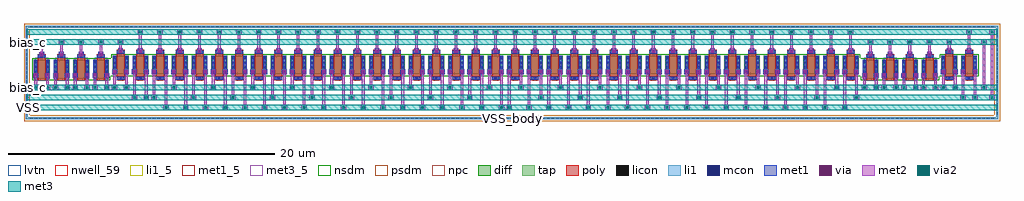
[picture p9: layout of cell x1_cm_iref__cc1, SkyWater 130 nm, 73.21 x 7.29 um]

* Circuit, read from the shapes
.subckt x1_cm_iref__cc1 VSS VSS_body bias_c i_bias
XM1 bias_c bias_c bias_c VSS_body sky130_fd_pr__nfet_01v8_lvt w=1.4 l=0.6 m=8
XM2 bias_c bias_c bias_c VSS_body sky130_fd_pr__nfet_01v8 w=1.4 l=0.6 m=2
XM3 i_bias i_bias i_bias VSS_body sky130_fd_pr__nfet_01v8 w=1.4 l=0.6 m=2
XM4 VSS i_bias i_bias VSS_body sky130_fd_pr__nfet_01v8 w=1.4 l=0.6 m=18
XM5 VSS i_bias bias_c VSS_body sky130_fd_pr__nfet_01v8 w=1.4 l=0.6 m=18
.ends

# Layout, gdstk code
from math import pi, radians
import gdstk
lib = gdstk.Library(unit=1e-6, precision=1e-09)
def R(c, l, rs):  # rectangles x0, y0, x1, y1
    for r in rs: c.add(gdstk.rectangle(r[:2], r[2:], *l))
def A(c, l, x, y, w, h, nx, ny, dx, dy):  # array of equal rectangles
    R(c, l, [(x+i*dx, y+j*dy, x+i*dx+w, y+j*dy+h) for i in range(nx) for j in range(ny)])
nwell_59 = (64, 59)
diff = (65, 20)
tap = (65, 44)
poly = (66, 20)
licon = (66, 44)
li1_5 = (67, 5)
li1 = (67, 20)
mcon = (67, 44)
met1_5 = (68, 5)
met1 = (68, 20)
via = (68, 44)
met2 = (69, 20)
via2 = (69, 44)
met3_5 = (70, 5)
met3 = (70, 20)
nsdm = (93, 44)
psdm = (94, 20)
npc = (95, 20)
lvtn = (125, 44)

sky130_fd_pr__nfet_01v8_ = lib.new_cell('sky130_fd_pr__nfet_01v8_KCM6UP')
R(sky130_fd_pr__nfet_01v8_, diff, [(-0.59,-0.7,0.59,0.7)])
R(sky130_fd_pr__nfet_01v8_, poly, [(-0.3,-1.14,0.3,1.14)])
A(sky130_fd_pr__nfet_01v8_, licon, -0.53, -0.595, 0.17, 0.17, 1, 4, 0, 0.34)
A(sky130_fd_pr__nfet_01v8_, licon, 0.36, -0.595, 0.17, 0.17, 1, 4, 0, 0.34)
R(sky130_fd_pr__nfet_01v8_, licon, [(-0.085,-1.06,0.085,-0.89), (-0.085,0.89,0.085,1.06)])
R(sky130_fd_pr__nfet_01v8_, li1, [(-0.3,-1.06,0.3,-0.89), (-0.53,-0.72,-0.36,0.72), (0.36,-0.72,0.53,0.72), (-0.3,0.89,0.3,1.06)])
A(sky130_fd_pr__nfet_01v8_, mcon, -0.53, -0.625, 0.17, 0.17, 1, 4, 0, 0.36)
A(sky130_fd_pr__nfet_01v8_, mcon, 0.36, -0.625, 0.17, 0.17, 1, 4, 0, 0.36)
R(sky130_fd_pr__nfet_01v8_, mcon, [(-0.085,-1.06,0.085,-0.89), (-0.085,0.89,0.085,1.06)])
R(sky130_fd_pr__nfet_01v8_, met1, [(-0.28,-1.09,0.28,-0.86), (-0.56,-0.7,-0.33,0.7), (0.33,-0.7,0.56,0.7), (-0.28,0.86,0.28,1.09)])
R(sky130_fd_pr__nfet_01v8_, nsdm, [(-0.715,-0.825,0.715,0.825)])
R(sky130_fd_pr__nfet_01v8_, npc, [(-0.185,-1.16,0.185,-0.79), (-0.185,0.79,0.185,1.16)])
sky130_fd_pr__nfet_01v8_.add(gdstk.Label('D', (-0.445,0), layer=67, texttype=5))
sky130_fd_pr__nfet_01v8_.add(gdstk.Label('S', (0.445,0), layer=67, texttype=5))
sky130_fd_pr__nfet_01v8_.add(gdstk.Label('G', (0,0.975), layer=67, texttype=5))

nfet_01v8_w1p4_l0p6_m18_ = lib.new_cell('nfet_01v8_W1p4_L0p6_m18__nf1_gboth_sdfull_ng')
R(nfet_01v8_w1p4_l0p6_m18_, nwell_59, [(0.05,1.09,0.15,1.19)])
R(nfet_01v8_w1p4_l0p6_m18_, met1_5, [(0.03,1.14,0.26,1.34), (0.92,1.14,1.15,1.34), (0.31,2,0.87,2.23)])
R(nfet_01v8_w1p4_l0p6_m18_, met1, [(0.03,1.14,0.26,1.34), (0.92,1.14,1.15,1.34), (0.31,2,0.87,2.23)])
nfet_01v8_w1p4_l0p6_m18_.add(gdstk.Reference(sky130_fd_pr__nfet_01v8_, (0.59,1.14)))
nfet_01v8_w1p4_l0p6_m18_.add(gdstk.Label('D', (0.145,1.24), layer=68, texttype=5))
nfet_01v8_w1p4_l0p6_m18_.add(gdstk.Label('S', (1.035,1.24), layer=68, texttype=5))
nfet_01v8_w1p4_l0p6_m18_.add(gdstk.Label('G', (0.59,2.115), layer=68, texttype=5))
nfet_01v8_w1p4_l0p6_m18_.add(gdstk.Label('B', (0.1,1.14), layer=64, texttype=59))

nfet_01v8_w1p4_l0p6_m2__ = lib.new_cell('nfet_01v8_W1p4_L0p6_m2__nf1_gboth_sdfull_ng')
R(nfet_01v8_w1p4_l0p6_m2__, nwell_59, [(0.05,1.09,0.15,1.19)])
R(nfet_01v8_w1p4_l0p6_m2__, met1_5, [(0.03,1.14,0.26,1.34), (0.92,1.14,1.15,1.34), (0.31,2,0.87,2.23)])
R(nfet_01v8_w1p4_l0p6_m2__, met1, [(0.03,1.14,0.26,1.34), (0.92,1.14,1.15,1.34), (0.31,2,0.87,2.23)])
nfet_01v8_w1p4_l0p6_m2__.add(gdstk.Reference(sky130_fd_pr__nfet_01v8_, (0.59,1.14)))
nfet_01v8_w1p4_l0p6_m2__.add(gdstk.Label('D', (0.145,1.24), layer=68, texttype=5))
nfet_01v8_w1p4_l0p6_m2__.add(gdstk.Label('S', (1.035,1.24), layer=68, texttype=5))
nfet_01v8_w1p4_l0p6_m2__.add(gdstk.Label('G', (0.59,2.115), layer=68, texttype=5))
nfet_01v8_w1p4_l0p6_m2__.add(gdstk.Label('B', (0.1,1.14), layer=64, texttype=59))

c_sky130_fd_pr__nfet_01v8_ = lib.new_cell('sky130_fd_pr__nfet_01v8_lvt_RUA5M6')
R(c_sky130_fd_pr__nfet_01v8_, diff, [(-0.59,-0.855,0.59,0.545)])
R(c_sky130_fd_pr__nfet_01v8_, poly, [(-0.3,-0.985,0.3,0.985)])
A(c_sky130_fd_pr__nfet_01v8_, licon, -0.53, -0.75, 0.17, 0.17, 1, 4, 0, 0.34)
A(c_sky130_fd_pr__nfet_01v8_, licon, 0.36, -0.75, 0.17, 0.17, 1, 4, 0, 0.34)
R(c_sky130_fd_pr__nfet_01v8_, licon, [(-0.085,0.735,0.085,0.905)])
R(c_sky130_fd_pr__nfet_01v8_, li1, [(-0.53,-0.875,-0.36,0.565), (0.36,-0.875,0.53,0.565), (-0.3,0.735,0.3,0.905)])
A(c_sky130_fd_pr__nfet_01v8_, mcon, -0.53, -0.78, 0.17, 0.17, 1, 4, 0, 0.36)
A(c_sky130_fd_pr__nfet_01v8_, mcon, 0.36, -0.78, 0.17, 0.17, 1, 4, 0, 0.36)
R(c_sky130_fd_pr__nfet_01v8_, mcon, [(-0.085,0.735,0.085,0.905)])
R(c_sky130_fd_pr__nfet_01v8_, met1, [(-0.56,-0.855,-0.33,0.545), (0.33,-0.855,0.56,0.545), (-0.28,0.705,0.28,0.935)])
R(c_sky130_fd_pr__nfet_01v8_, nsdm, [(-0.715,-0.98,0.715,0.67)])
R(c_sky130_fd_pr__nfet_01v8_, npc, [(-0.185,0.635,0.185,1.005)])
R(c_sky130_fd_pr__nfet_01v8_, lvtn, [(-0.48,-1.035,0.48,0.725)])
c_sky130_fd_pr__nfet_01v8_.add(gdstk.Label('D', (-0.445,-0.155), layer=67, texttype=5))
c_sky130_fd_pr__nfet_01v8_.add(gdstk.Label('S', (0.445,-0.155), layer=67, texttype=5))
c_sky130_fd_pr__nfet_01v8_.add(gdstk.Label('G', (0,0.82), layer=67, texttype=5))

nfet_01v8_lvt_w1p4_l0p6_ = lib.new_cell('nfet_01v8_lvt_W1p4_L0p6_m8__nf1_gtop_sdfull_ng')
R(nfet_01v8_lvt_w1p4_l0p6_, nwell_59, [(0.05,0.78,0.15,0.88)])
R(nfet_01v8_lvt_w1p4_l0p6_, met1_5, [(0.03,0.83,0.26,1.03), (0.92,0.83,1.15,1.03), (0.31,1.69,0.87,1.92)])
R(nfet_01v8_lvt_w1p4_l0p6_, met1, [(0.03,0.83,0.26,1.03), (0.92,0.83,1.15,1.03), (0.31,1.69,0.87,1.92)])
nfet_01v8_lvt_w1p4_l0p6_.add(gdstk.Reference(c_sky130_fd_pr__nfet_01v8_, (0.59,0.985)))
nfet_01v8_lvt_w1p4_l0p6_.add(gdstk.Label('D', (0.145,0.93), layer=68, texttype=5))
nfet_01v8_lvt_w1p4_l0p6_.add(gdstk.Label('S', (1.035,0.93), layer=68, texttype=5))
nfet_01v8_lvt_w1p4_l0p6_.add(gdstk.Label('G', (0.59,1.805), layer=68, texttype=5))
nfet_01v8_lvt_w1p4_l0p6_.add(gdstk.Label('B', (0.1,0.83), layer=64, texttype=59))

x1_cm_iref__cc1 = lib.new_cell('x1_cm_iref__cc1')
R(x1_cm_iref__cc1, tap, [(-0.485,-2.935,72.475,-2.765), (-0.485,-2.765,-0.315,3.935), (72.305,-2.765,72.475,3.935), (-0.485,3.935,72.475,4.105)])
A(x1_cm_iref__cc1, licon, -0.13, -2.935, 0.17, 0.17, 213, 2, 0.34, 6.87)
A(x1_cm_iref__cc1, licon, -0.485, -2.56, 0.17, 0.17, 1, 19, 0, 0.34)
A(x1_cm_iref__cc1, licon, 72.305, -2.56, 0.17, 0.17, 1, 19, 0, 0.34)
R(x1_cm_iref__cc1, li1_5, [(35.945,-2.9,36.045,-2.8)])
R(x1_cm_iref__cc1, li1, [(-0.485,-2.935,72.475,-2.765), (-0.485,-2.765,-0.315,3.935), (72.305,-2.765,72.475,3.935), (-0.485,3.935,72.475,4.105)])
A(x1_cm_iref__cc1, met1, 0.535, 1.77, 0.36, 0.36, 4, 1, 1.48, 0)
A(x1_cm_iref__cc1, met1, 62.695, 1.77, 0.36, 0.36, 4, 1, 1.48, 0)
A(x1_cm_iref__cc1, met1, 6.455, 2.05, 0.36, 0.36, 38, 1, 1.48, 0)
R(x1_cm_iref__cc1, met1, [(0.09,0.18,0.45,0.54), (0.98,0.18,1.34,0.54), (1.57,0.18,1.93,0.54), (2.46,0.18,2.82,0.54), (3.05,0.18,3.41,0.54), (3.94,0.18,4.3,0.54), (4.53,0.18,4.89,0.54), (5.42,0.18,5.78,0.54), (62.25,0.18,62.61,0.54), (63.14,0.18,63.5,0.54), (63.73,0.18,64.09,0.54), (64.62,0.18,64.98,0.54), (65.21,0.18,65.57,0.54), (66.1,0.18,66.46,0.54), (66.69,0.18,67.05,0.54), (67.58,0.18,67.94,0.54), (6.01,0.46,6.37,0.82), (6.9,0.46,7.26,0.82), (7.49,0.46,7.85,0.82), (8.38,0.46,8.74,0.82), (8.97,0.46,9.33,0.82), (9.86,0.46,10.22,0.82), (10.45,0.46,10.81,0.82), (11.34,0.46,11.7,0.82), (11.93,0.46,12.29,0.82), (12.82,0.46,13.18,0.82), (13.41,0.46,13.77,0.82), (14.3,0.46,14.66,0.82), (14.89,0.46,15.25,0.82), (15.78,0.46,16.14,0.82), (16.37,0.46,16.73,0.82), (17.26,0.46,17.62,0.82), (17.85,0.46,18.21,0.82), (18.74,0.46,19.1,0.82), (19.33,0.46,19.69,0.82), (20.22,0.46,20.58,0.82), (20.81,0.46,21.17,0.82), (21.7,0.46,22.06,0.82), (22.29,0.46,22.65,0.82), (23.18,0.46,23.54,0.82), (23.77,0.46,24.13,0.82), (24.66,0.46,25.02,0.82), (25.25,0.46,25.61,0.82), (26.14,0.46,26.5,0.82), (26.73,0.46,27.09,0.82), (27.62,0.46,27.98,0.82), (28.21,0.46,28.57,0.82), (29.1,0.46,29.46,0.82), (29.69,0.46,30.05,0.82), (30.58,0.46,30.94,0.82), (31.17,0.46,31.53,0.82), (32.06,0.46,32.42,0.82), (32.65,0.46,33.01,0.82), (33.54,0.46,33.9,0.82), (34.13,0.46,34.49,0.82), (35.02,0.46,35.38,0.82), (35.61,0.46,35.97,0.82), (36.5,0.46,36.86,0.82), (37.09,0.46,37.45,0.82), (37.98,0.46,38.34,0.82), (38.57,0.46,38.93,0.82), (39.46,0.46,39.82,0.82), (40.05,0.46,40.41,0.82), (40.94,0.46,41.3,0.82), (41.53,0.46,41.89,0.82), (42.42,0.46,42.78,0.82), (43.01,0.46,43.37,0.82), (43.9,0.46,44.26,0.82), (44.49,0.46,44.85,0.82), (45.38,0.46,45.74,0.82), (45.97,0.46,46.33,0.82), (46.86,0.46,47.22,0.82), (47.45,0.46,47.81,0.82), (48.34,0.46,48.7,0.82), (48.93,0.46,49.29,0.82), (49.82,0.46,50.18,0.82), (50.41,0.46,50.77,0.82), (51.3,0.46,51.66,0.82), (51.89,0.46,52.25,0.82), (52.78,0.46,53.14,0.82), (53.37,0.46,53.73,0.82), (54.26,0.46,54.62,0.82), (54.85,0.46,55.21,0.82), (55.74,0.46,56.1,0.82), (56.33,0.46,56.69,0.82), (57.22,0.46,57.58,0.82), (57.81,0.46,58.17,0.82), (58.7,0.46,59.06,0.82), (59.29,0.46,59.65,0.82), (60.18,0.46,60.54,0.82), (60.77,0.46,61.13,0.82), (61.66,0.46,62.02,0.82), (68.17,0.46,68.53,0.82), (69.06,0.46,69.42,0.82), (69.65,0.46,70.01,0.82), (70.54,0.46,70.9,0.82), (68.615,2.05,68.975,2.41), (70.095,2.05,70.455,2.41)])
A(x1_cm_iref__cc1, via, 0.64, 1.875, 0.15, 0.15, 4, 1, 1.48, 0)
A(x1_cm_iref__cc1, via, 62.8, 1.875, 0.15, 0.15, 4, 1, 1.48, 0)
A(x1_cm_iref__cc1, via, 6.56, 2.155, 0.15, 0.15, 38, 1, 1.48, 0)
R(x1_cm_iref__cc1, via, [(0.195,0.285,0.345,0.435), (1.085,0.285,1.235,0.435), (1.675,0.285,1.825,0.435), (2.565,0.285,2.715,0.435), (3.155,0.285,3.305,0.435), (4.045,0.285,4.195,0.435), (4.635,0.285,4.785,0.435), (5.525,0.285,5.675,0.435), (62.355,0.285,62.505,0.435), (63.245,0.285,63.395,0.435), (63.835,0.285,63.985,0.435), (64.725,0.285,64.875,0.435), (65.315,0.285,65.465,0.435), (66.205,0.285,66.355,0.435), (66.795,0.285,66.945,0.435), (67.685,0.285,67.835,0.435), (6.115,0.565,6.265,0.715), (7.005,0.565,7.155,0.715), (7.595,0.565,7.745,0.715), (8.485,0.565,8.635,0.715), (9.075,0.565,9.225,0.715), (9.965,0.565,10.115,0.715), (10.555,0.565,10.705,0.715), (11.445,0.565,11.595,0.715), (12.035,0.565,12.185,0.715), (12.925,0.565,13.075,0.715), (13.515,0.565,13.665,0.715), (14.405,0.565,14.555,0.715), (14.995,0.565,15.145,0.715), (15.885,0.565,16.035,0.715), (16.475,0.565,16.625,0.715), (17.365,0.565,17.515,0.715), (17.955,0.565,18.105,0.715), (18.845,0.565,18.995,0.715), (19.435,0.565,19.585,0.715), (20.325,0.565,20.475,0.715), (20.915,0.565,21.065,0.715), (21.805,0.565,21.955,0.715), (22.395,0.565,22.545,0.715), (23.285,0.565,23.435,0.715), (23.875,0.565,24.025,0.715), (24.765,0.565,24.915,0.715), (25.355,0.565,25.505,0.715), (26.245,0.565,26.395,0.715), (26.835,0.565,26.985,0.715), (27.725,0.565,27.875,0.715), (28.315,0.565,28.465,0.715), (29.205,0.565,29.355,0.715), (29.795,0.565,29.945,0.715), (30.685,0.565,30.835,0.715), (31.275,0.565,31.425,0.715), (32.165,0.565,32.315,0.715), (32.755,0.565,32.905,0.715), (33.645,0.565,33.795,0.715), (34.235,0.565,34.385,0.715), (35.125,0.565,35.275,0.715), (35.715,0.565,35.865,0.715), (36.605,0.565,36.755,0.715), (37.195,0.565,37.345,0.715), (38.085,0.565,38.235,0.715), (38.675,0.565,38.825,0.715), (39.565,0.565,39.715,0.715), (40.155,0.565,40.305,0.715), (41.045,0.565,41.195,0.715), (41.635,0.565,41.785,0.715), (42.525,0.565,42.675,0.715), (43.115,0.565,43.265,0.715), (44.005,0.565,44.155,0.715), (44.595,0.565,44.745,0.715), (45.485,0.565,45.635,0.715), (46.075,0.565,46.225,0.715), (46.965,0.565,47.115,0.715), (47.555,0.565,47.705,0.715), (48.445,0.565,48.595,0.715), (49.035,0.565,49.185,0.715), (49.925,0.565,50.075,0.715), (50.515,0.565,50.665,0.715), (51.405,0.565,51.555,0.715), (51.995,0.565,52.145,0.715), (52.885,0.565,53.035,0.715), (53.475,0.565,53.625,0.715), (54.365,0.565,54.515,0.715), (54.955,0.565,55.105,0.715), (55.845,0.565,55.995,0.715), (56.435,0.565,56.585,0.715), (57.325,0.565,57.475,0.715), (57.915,0.565,58.065,0.715), (58.805,0.565,58.955,0.715), (59.395,0.565,59.545,0.715), (60.285,0.565,60.435,0.715), (60.875,0.565,61.025,0.715), (61.765,0.565,61.915,0.715), (68.275,0.565,68.425,0.715), (69.165,0.565,69.315,0.715), (69.755,0.565,69.905,0.715), (70.645,0.565,70.795,0.715), (68.72,2.155,68.87,2.305), (70.2,2.155,70.35,2.305)])
A(x1_cm_iref__cc1, met2, 9.84, -2.25, 0.4, 0.4, 18, 1, 1.48, 0)
A(x1_cm_iref__cc1, met2, 35.59, -2.25, 0.4, 0.4, 18, 1, 1.48, 0)
A(x1_cm_iref__cc1, met2, 9.94, -1.85, 0.2, 2.33, 18, 1, 1.48, 0)
A(x1_cm_iref__cc1, met2, 35.69, -1.85, 0.2, 2.33, 18, 1, 1.48, 0)
A(x1_cm_iref__cc1, met2, 8.95, -1.5, 0.4, 0.4, 9, 1, 2.96, 0)
A(x1_cm_iref__cc1, met2, 37.96, -1.5, 0.4, 0.4, 9, 1, 2.96, 0)
A(x1_cm_iref__cc1, met2, 9.05, -1.1, 0.2, 1.58, 9, 1, 2.96, 0)
A(x1_cm_iref__cc1, met2, 38.06, -1.1, 0.2, 1.58, 9, 1, 2.96, 0)
A(x1_cm_iref__cc1, met2, 10.43, -0.75, 0.4, 0.4, 9, 1, 2.96, 0)
A(x1_cm_iref__cc1, met2, 36.48, -0.75, 0.4, 0.4, 9, 1, 2.96, 0)
A(x1_cm_iref__cc1, met2, 10.53, -0.35, 0.2, 0.83, 9, 1, 2.96, 0)
A(x1_cm_iref__cc1, met2, 36.58, -0.35, 0.2, 0.83, 9, 1, 2.96, 0)
A(x1_cm_iref__cc1, met2, 0.585, 1.79, 0.26, 0.32, 4, 1, 1.48, 0)
A(x1_cm_iref__cc1, met2, 62.745, 1.79, 0.26, 0.32, 4, 1, 1.48, 0)
A(x1_cm_iref__cc1, met2, 6.505, 2.07, 0.26, 0.32, 38, 1, 1.48, 0)
A(x1_cm_iref__cc1, met2, 0.615, 2.11, 0.2, 0.56, 4, 1, 1.48, 0)
A(x1_cm_iref__cc1, met2, 62.775, 2.11, 0.2, 0.56, 4, 1, 1.48, 0)
A(x1_cm_iref__cc1, met2, 8.015, 2.39, 0.2, 1.03, 37, 1, 1.48, 0)
A(x1_cm_iref__cc1, met2, 0.515, 2.67, 0.4, 0.4, 5, 1, 1.48, 0)
A(x1_cm_iref__cc1, met2, 62.675, 2.67, 0.4, 0.4, 5, 1, 1.48, 0)
A(x1_cm_iref__cc1, met2, 7.915, 3.42, 0.4, 0.4, 37, 1, 1.48, 0)
R(x1_cm_iref__cc1, met2, [(7.47,-1.5,7.87,-1.1), (8.36,-1.5,8.76,-1.1), (69.63,-1.5,70.03,-1.1), (70.52,-1.5,70.92,-1.1), (71.79,-1.5,72.19,-1.1), (7.57,-1.1,7.77,0.48), (8.46,-1.1,8.66,0.48), (69.73,-1.1,69.93,0.48), (70.62,-1.1,70.82,0.48), (71.89,-1.1,72.09,3.42), (0.07,-0.75,0.47,-0.35), (0.96,-0.75,1.36,-0.35), (1.55,-0.75,1.95,-0.35), (2.44,-0.75,2.84,-0.35), (3.03,-0.75,3.43,-0.35), (3.92,-0.75,4.32,-0.35), (4.51,-0.75,4.91,-0.35), (5.4,-0.75,5.8,-0.35), (5.99,-0.75,6.39,-0.35), (6.88,-0.75,7.28,-0.35), (62.23,-0.75,62.63,-0.35), (63.12,-0.75,63.52,-0.35), (63.71,-0.75,64.11,-0.35), (64.6,-0.75,65,-0.35), (65.19,-0.75,65.59,-0.35), (66.08,-0.75,66.48,-0.35), (66.67,-0.75,67.07,-0.35), (67.56,-0.75,67.96,-0.35), (68.15,-0.75,68.55,-0.35), (69.04,-0.75,69.44,-0.35), (71.19,-0.75,71.59,-0.35), (0.17,-0.35,0.37,0.2), (1.06,-0.35,1.26,0.2), (1.65,-0.35,1.85,0.2), (2.54,-0.35,2.74,0.2), (3.13,-0.35,3.33,0.2), (4.02,-0.35,4.22,0.2), (4.61,-0.35,4.81,0.2), (5.5,-0.35,5.7,0.2), (6.09,-0.35,6.29,0.48), (6.98,-0.35,7.18,0.48), (62.33,-0.35,62.53,0.2), (63.22,-0.35,63.42,0.2), (63.81,-0.35,64.01,0.2), (64.7,-0.35,64.9,0.2), (65.29,-0.35,65.49,0.2), (66.18,-0.35,66.38,0.2), (66.77,-0.35,66.97,0.2), (67.66,-0.35,67.86,0.2), (68.25,-0.35,68.45,0.48), (69.14,-0.35,69.34,0.48), (71.29,-0.35,71.49,2.67), (0.14,0.2,0.4,0.52), (1.03,0.2,1.29,0.52), (1.62,0.2,1.88,0.52), (2.51,0.2,2.77,0.52), (3.1,0.2,3.36,0.52), (3.99,0.2,4.25,0.52), (4.58,0.2,4.84,0.52), (5.47,0.2,5.73,0.52), (62.3,0.2,62.56,0.52), (63.19,0.2,63.45,0.52), (63.78,0.2,64.04,0.52), (64.67,0.2,64.93,0.52), (65.26,0.2,65.52,0.52), (66.15,0.2,66.41,0.52), (66.74,0.2,67,0.52), (67.63,0.2,67.89,0.52), (6.06,0.48,6.32,0.8), (6.95,0.48,7.21,0.8), (7.54,0.48,7.8,0.8), (8.43,0.48,8.69,0.8), (9.02,0.48,9.28,0.8), (9.91,0.48,10.17,0.8), (10.5,0.48,10.76,0.8), (11.39,0.48,11.65,0.8), (11.98,0.48,12.24,0.8), (12.87,0.48,13.13,0.8), (13.46,0.48,13.72,0.8), (14.35,0.48,14.61,0.8), (14.94,0.48,15.2,0.8), (15.83,0.48,16.09,0.8), (16.42,0.48,16.68,0.8), (17.31,0.48,17.57,0.8), (17.9,0.48,18.16,0.8), (18.79,0.48,19.05,0.8), (19.38,0.48,19.64,0.8), (20.27,0.48,20.53,0.8), (20.86,0.48,21.12,0.8), (21.75,0.48,22.01,0.8), (22.34,0.48,22.6,0.8), (23.23,0.48,23.49,0.8), (23.82,0.48,24.08,0.8), (24.71,0.48,24.97,0.8), (25.3,0.48,25.56,0.8), (26.19,0.48,26.45,0.8), (26.78,0.48,27.04,0.8), (27.67,0.48,27.93,0.8), (28.26,0.48,28.52,0.8), (29.15,0.48,29.41,0.8), (29.74,0.48,30,0.8), (30.63,0.48,30.89,0.8), (31.22,0.48,31.48,0.8), (32.11,0.48,32.37,0.8), (32.7,0.48,32.96,0.8), (33.59,0.48,33.85,0.8), (34.18,0.48,34.44,0.8), (35.07,0.48,35.33,0.8), (35.66,0.48,35.92,0.8), (36.55,0.48,36.81,0.8), (37.14,0.48,37.4,0.8), (38.03,0.48,38.29,0.8), (38.62,0.48,38.88,0.8), (39.51,0.48,39.77,0.8), (40.1,0.48,40.36,0.8), (40.99,0.48,41.25,0.8), (41.58,0.48,41.84,0.8), (42.47,0.48,42.73,0.8), (43.06,0.48,43.32,0.8), (43.95,0.48,44.21,0.8), (44.54,0.48,44.8,0.8), (45.43,0.48,45.69,0.8), (46.02,0.48,46.28,0.8), (46.91,0.48,47.17,0.8), (47.5,0.48,47.76,0.8), (48.39,0.48,48.65,0.8), (48.98,0.48,49.24,0.8), (49.87,0.48,50.13,0.8), (50.46,0.48,50.72,0.8), (51.35,0.48,51.61,0.8), (51.94,0.48,52.2,0.8), (52.83,0.48,53.09,0.8), (53.42,0.48,53.68,0.8), (54.31,0.48,54.57,0.8), (54.9,0.48,55.16,0.8), (55.79,0.48,56.05,0.8), (56.38,0.48,56.64,0.8), (57.27,0.48,57.53,0.8), (57.86,0.48,58.12,0.8), (58.75,0.48,59.01,0.8), (59.34,0.48,59.6,0.8), (60.23,0.48,60.49,0.8), (60.82,0.48,61.08,0.8), (61.71,0.48,61.97,0.8), (68.22,0.48,68.48,0.8), (69.11,0.48,69.37,0.8), (69.7,0.48,69.96,0.8), (70.59,0.48,70.85,0.8), (68.665,2.07,68.925,2.39), (70.145,2.07,70.405,2.39), (6.535,2.39,6.735,2.67), (68.695,2.39,68.895,2.67), (70.175,2.39,70.375,3.42), (71.19,2.67,71.59,3.07), (70.075,3.42,70.475,3.82), (71.79,3.42,72.19,3.82)])
A(x1_cm_iref__cc1, via2, 9.94, -2.15, 0.2, 0.2, 18, 1, 1.48, 0)
A(x1_cm_iref__cc1, via2, 35.69, -2.15, 0.2, 0.2, 18, 1, 1.48, 0)
A(x1_cm_iref__cc1, via2, 9.05, -1.4, 0.2, 0.2, 9, 1, 2.96, 0)
A(x1_cm_iref__cc1, via2, 38.06, -1.4, 0.2, 0.2, 9, 1, 2.96, 0)
A(x1_cm_iref__cc1, via2, 10.53, -0.65, 0.2, 0.2, 9, 1, 2.96, 0)
A(x1_cm_iref__cc1, via2, 36.58, -0.65, 0.2, 0.2, 9, 1, 2.96, 0)
A(x1_cm_iref__cc1, via2, 0.615, 2.77, 0.2, 0.2, 5, 1, 1.48, 0)
A(x1_cm_iref__cc1, via2, 62.775, 2.77, 0.2, 0.2, 5, 1, 1.48, 0)
A(x1_cm_iref__cc1, via2, 8.015, 3.52, 0.2, 0.2, 37, 1, 1.48, 0)
R(x1_cm_iref__cc1, via2, [(7.57,-1.4,7.77,-1.2), (8.46,-1.4,8.66,-1.2), (69.73,-1.4,69.93,-1.2), (70.62,-1.4,70.82,-1.2), (71.89,-1.4,72.09,-1.2), (0.17,-0.65,0.37,-0.45), (1.06,-0.65,1.26,-0.45), (1.65,-0.65,1.85,-0.45), (2.54,-0.65,2.74,-0.45), (3.13,-0.65,3.33,-0.45), (4.02,-0.65,4.22,-0.45), (4.61,-0.65,4.81,-0.45), (5.5,-0.65,5.7,-0.45), (6.09,-0.65,6.29,-0.45), (6.98,-0.65,7.18,-0.45), (62.33,-0.65,62.53,-0.45), (63.22,-0.65,63.42,-0.45), (63.81,-0.65,64.01,-0.45), (64.7,-0.65,64.9,-0.45), (65.29,-0.65,65.49,-0.45), (66.18,-0.65,66.38,-0.45), (66.77,-0.65,66.97,-0.45), (67.66,-0.65,67.86,-0.45), (68.25,-0.65,68.45,-0.45), (69.14,-0.65,69.34,-0.45), (71.29,-0.65,71.49,-0.45), (71.29,2.77,71.49,2.97), (70.175,3.52,70.375,3.72), (71.89,3.52,72.09,3.72)])
A(x1_cm_iref__cc1, met3_5, -0.3, -2.1, 0.1, 0.1, 1, 3, 0, 0.75)
R(x1_cm_iref__cc1, met3_5, [(-0.3,2.82,-0.2,2.92), (-0.3,3.57,-0.2,3.67)])
A(x1_cm_iref__cc1, met3, -0.4, -2.25, 72.79, 0.4, 1, 3, 0, 0.75)
R(x1_cm_iref__cc1, met3, [(-0.4,2.67,72.39,3.07), (-0.4,3.42,72.39,3.82)])
A(x1_cm_iref__cc1, nsdm, 1.435, 0.005, 0.05, 1.65, 3, 1, 1.48, 0)
A(x1_cm_iref__cc1, nsdm, 63.595, 0.005, 0.05, 1.65, 3, 1, 1.48, 0)
A(x1_cm_iref__cc1, nsdm, 7.355, 0.315, 0.05, 1.65, 37, 1, 1.48, 0)
R(x1_cm_iref__cc1, nsdm, [(5.875,0.315,5.925,1.655), (62.115,0.315,62.165,1.655), (68.035,0.315,68.085,1.655), (69.515,0.315,69.565,1.965)])
R(x1_cm_iref__cc1, psdm, [(-0.61,-3.06,72.6,-2.64), (-0.61,-2.64,-0.19,3.81), (72.18,-2.64,72.6,3.81), (-0.61,3.81,72.6,4.23)])
x1_cm_iref__cc1.add(gdstk.Reference(nfet_01v8_w1p4_l0p6_m18_, (61.99,0), rotation=pi, x_reflection=True))
x1_cm_iref__cc1.add(gdstk.Reference(nfet_01v8_w1p4_l0p6_m18_, (60.51,0), rotation=pi, x_reflection=True))
x1_cm_iref__cc1.add(gdstk.Reference(nfet_01v8_w1p4_l0p6_m18_, (59.03,0), rotation=pi, x_reflection=True))
x1_cm_iref__cc1.add(gdstk.Reference(nfet_01v8_w1p4_l0p6_m18_, (57.55,0), rotation=pi, x_reflection=True))
x1_cm_iref__cc1.add(gdstk.Reference(nfet_01v8_w1p4_l0p6_m18_, (56.07,0), rotation=pi, x_reflection=True))
x1_cm_iref__cc1.add(gdstk.Reference(nfet_01v8_w1p4_l0p6_m18_, (54.59,0), rotation=pi, x_reflection=True))
x1_cm_iref__cc1.add(gdstk.Reference(nfet_01v8_w1p4_l0p6_m18_, (53.11,0), rotation=pi, x_reflection=True))
x1_cm_iref__cc1.add(gdstk.Reference(nfet_01v8_w1p4_l0p6_m18_, (51.63,0), rotation=pi, x_reflection=True))
x1_cm_iref__cc1.add(gdstk.Reference(nfet_01v8_w1p4_l0p6_m18_, (50.15,0), rotation=pi, x_reflection=True))
x1_cm_iref__cc1.add(gdstk.Reference(nfet_01v8_w1p4_l0p6_m18_, (48.67,0), rotation=pi, x_reflection=True))
x1_cm_iref__cc1.add(gdstk.Reference(nfet_01v8_w1p4_l0p6_m18_, (47.19,0), rotation=pi, x_reflection=True))
x1_cm_iref__cc1.add(gdstk.Reference(nfet_01v8_w1p4_l0p6_m18_, (45.71,0), rotation=pi, x_reflection=True))
x1_cm_iref__cc1.add(gdstk.Reference(nfet_01v8_w1p4_l0p6_m18_, (44.23,0), rotation=pi, x_reflection=True))
x1_cm_iref__cc1.add(gdstk.Reference(nfet_01v8_w1p4_l0p6_m18_, (42.75,0), rotation=pi, x_reflection=True))
x1_cm_iref__cc1.add(gdstk.Reference(nfet_01v8_w1p4_l0p6_m18_, (41.27,0), rotation=pi, x_reflection=True))
x1_cm_iref__cc1.add(gdstk.Reference(nfet_01v8_w1p4_l0p6_m18_, (39.79,0), rotation=pi, x_reflection=True))
x1_cm_iref__cc1.add(gdstk.Reference(nfet_01v8_w1p4_l0p6_m18_, (38.31,0), rotation=pi, x_reflection=True))
x1_cm_iref__cc1.add(gdstk.Reference(nfet_01v8_w1p4_l0p6_m18_, (36.83,0), rotation=pi, x_reflection=True))
x1_cm_iref__cc1.add(gdstk.Reference(nfet_01v8_w1p4_l0p6_m18_, (34.17,0)))
x1_cm_iref__cc1.add(gdstk.Reference(nfet_01v8_w1p4_l0p6_m18_, (32.69,0)))
x1_cm_iref__cc1.add(gdstk.Reference(nfet_01v8_w1p4_l0p6_m18_, (31.21,0)))
x1_cm_iref__cc1.add(gdstk.Reference(nfet_01v8_w1p4_l0p6_m18_, (29.73,0)))
x1_cm_iref__cc1.add(gdstk.Reference(nfet_01v8_w1p4_l0p6_m18_, (28.25,0)))
x1_cm_iref__cc1.add(gdstk.Reference(nfet_01v8_w1p4_l0p6_m18_, (26.77,0)))
x1_cm_iref__cc1.add(gdstk.Reference(nfet_01v8_w1p4_l0p6_m18_, (25.29,0)))
x1_cm_iref__cc1.add(gdstk.Reference(nfet_01v8_w1p4_l0p6_m18_, (23.81,0)))
x1_cm_iref__cc1.add(gdstk.Reference(nfet_01v8_w1p4_l0p6_m18_, (22.33,0)))
x1_cm_iref__cc1.add(gdstk.Reference(nfet_01v8_w1p4_l0p6_m18_, (20.85,0)))
x1_cm_iref__cc1.add(gdstk.Reference(nfet_01v8_w1p4_l0p6_m18_, (19.37,0)))
x1_cm_iref__cc1.add(gdstk.Reference(nfet_01v8_w1p4_l0p6_m18_, (17.89,0)))
x1_cm_iref__cc1.add(gdstk.Reference(nfet_01v8_w1p4_l0p6_m18_, (16.41,0)))
x1_cm_iref__cc1.add(gdstk.Reference(nfet_01v8_w1p4_l0p6_m18_, (14.93,0)))
x1_cm_iref__cc1.add(gdstk.Reference(nfet_01v8_w1p4_l0p6_m18_, (13.45,0)))
x1_cm_iref__cc1.add(gdstk.Reference(nfet_01v8_w1p4_l0p6_m18_, (11.97,0)))
x1_cm_iref__cc1.add(gdstk.Reference(nfet_01v8_w1p4_l0p6_m18_, (10.49,0)))
x1_cm_iref__cc1.add(gdstk.Reference(nfet_01v8_w1p4_l0p6_m18_, (9.01,0)))
x1_cm_iref__cc1.add(gdstk.Reference(nfet_01v8_w1p4_l0p6_m2__, (69.69,0)))
x1_cm_iref__cc1.add(gdstk.Reference(nfet_01v8_w1p4_l0p6_m2__, (68.21,0)))
x1_cm_iref__cc1.add(gdstk.Reference(nfet_01v8_w1p4_l0p6_m2__, (7.53,0)))
x1_cm_iref__cc1.add(gdstk.Reference(nfet_01v8_w1p4_l0p6_m2__, (6.05,0)))
x1_cm_iref__cc1.add(gdstk.Reference(nfet_01v8_lvt_w1p4_l0p6_, (0.13,0)))
x1_cm_iref__cc1.add(gdstk.Reference(nfet_01v8_lvt_w1p4_l0p6_, (1.61,0)))
x1_cm_iref__cc1.add(gdstk.Reference(nfet_01v8_lvt_w1p4_l0p6_, (3.09,0)))
x1_cm_iref__cc1.add(gdstk.Reference(nfet_01v8_lvt_w1p4_l0p6_, (4.57,0)))
x1_cm_iref__cc1.add(gdstk.Reference(nfet_01v8_lvt_w1p4_l0p6_, (62.29,0)))
x1_cm_iref__cc1.add(gdstk.Reference(nfet_01v8_lvt_w1p4_l0p6_, (63.77,0)))
x1_cm_iref__cc1.add(gdstk.Reference(nfet_01v8_lvt_w1p4_l0p6_, (65.25,0)))
x1_cm_iref__cc1.add(gdstk.Reference(nfet_01v8_lvt_w1p4_l0p6_, (66.73,0)))
x1_cm_iref__cc1.add(gdstk.Label('bias_c', (-0.25,2.87), layer=70, texttype=5))
x1_cm_iref__cc1.add(gdstk.Label('i_bias', (-0.25,3.62), layer=70, texttype=5))
x1_cm_iref__cc1.add(gdstk.Label('bias_c', (-0.25,-0.55), layer=70, texttype=5))
x1_cm_iref__cc1.add(gdstk.Label('i_bias', (-0.25,-1.3), layer=70, texttype=5))
x1_cm_iref__cc1.add(gdstk.Label('VSS', (-0.25,-2.05), layer=70, texttype=5))
x1_cm_iref__cc1.add(gdstk.Label('VSS_body', (35.995,-2.85), layer=67, texttype=5))

lib.write_gds('x1_cm_iref__cc1.gds')
